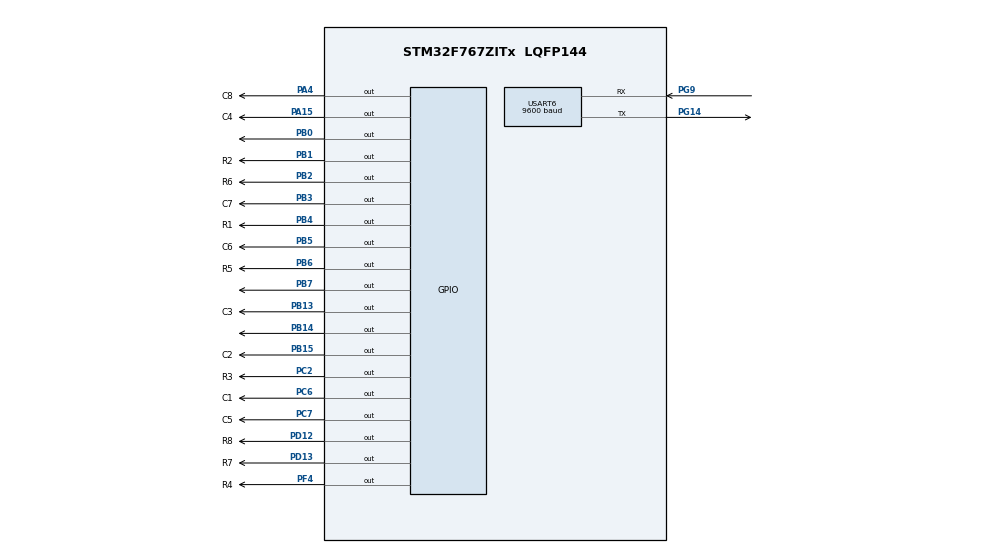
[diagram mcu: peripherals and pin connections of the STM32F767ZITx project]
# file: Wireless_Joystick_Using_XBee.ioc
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Mcu.Family=STM32F7
Mcu.Name=STM32F767ZITx
Mcu.Package=LQFP144
NVIC.PriorityGroup=NVIC_PRIORITYGROUP_4
NVIC.USART6_IRQn=true\:0\:0\:false\:false\:true\:true
PA15.GPIO_Label=C4
PA15.Signal=GPIO_Output
PA4.GPIO_Label=C8
PA4.Signal=GPIO_Output
PB0.Signal=GPIO_Output
PB1.GPIO_Label=R2
PB1.Signal=GPIO_Output
PB13.GPIO_Label=C3
PB13.Signal=GPIO_Output
PB14.Signal=GPIO_Output
PB15.GPIO_Label=C2
PB15.Signal=GPIO_Output
PB2.GPIO_Label=R6
PB2.Signal=GPIO_Output
PB3.GPIO_Label=C7
PB3.Signal=GPIO_Output
PB4.GPIO_Label=R1
PB4.Signal=GPIO_Output
PB5.GPIO_Label=C6
PB5.Signal=GPIO_Output
PB6.GPIO_Label=R5
PB6.Signal=GPIO_Output
PB7.Signal=GPIO_Output
PC2.GPIO_Label=R3
PC2.Signal=GPIO_Output
PC6.GPIO_Label=C1
PC6.Signal=GPIO_Output
PC7.GPIO_Label=C5
PC7.Signal=GPIO_Output
PD12.GPIO_Label=R8
PD12.Signal=GPIO_Output
PD13.GPIO_Label=R7
PD13.Signal=GPIO_Output
PF4.GPIO_Label=R4
PF4.Signal=GPIO_Output
PG14.Mode=Asynchronous
PG14.Signal=USART6_TX
PG9.Mode=Asynchronous
PG9.Signal=USART6_RX
ProjectManager.HeapSize=0x200
ProjectManager.StackSize=0x400
ProjectManager.TargetToolchain=MDK-ARM V5
RCC.HSE_VALUE=25000000
RCC.HSI_VALUE=16000000
RCC.LSE_VALUE=32768
RCC.USBFreq_Value=96000000
RCC.VCOOutputFreq_Value=192000000
USART6.BaudRate=9600
USART6.VirtualMode-Asynchronous=VM_ASYNC
board=custom

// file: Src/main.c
/* USER CODE BEGIN Header */
/**
  ******************************************************************************
  * @file           : main.c
  * @brief          : Main program body
  ******************************************************************************
  ** This notice applies to any and all portions of this file
  * that are not between comment pairs USER CODE BEGIN and
  * USER CODE END. Other portions of this file, whether
  * inserted by the user or by software development tools
  * are owned by their respective copyright owners.
  *
  * COPYRIGHT(c) 2019 STMicroelectronics
  *
  * Redistribution and use in source and binary forms, with or without modification,
  * are permitted provided that the following conditions are met:
  *   1. Redistributions of source code must retain the above copyright notice,
  *      this list of conditions and the following disclaimer.
  *   2. Redistributions in binary form must reproduce the above copyright notice,
  *      this list of conditions and the following disclaimer in the documentation
  *      and/or other materials provided with the distribution.
  *   3. Neither the name of STMicroelectronics nor the names of its contributors
  *      may be used to endorse or promote products derived from this software
  *      without specific prior written permission.
  *
  * THIS SOFTWARE IS PROVIDED BY THE COPYRIGHT HOLDERS AND CONTRIBUTORS "AS IS"
  * AND ANY EXPRESS OR IMPLIED WARRANTIES, INCLUDING, BUT NOT LIMITED TO, THE
  * IMPLIED WARRANTIES OF MERCHANTABILITY AND FITNESS FOR A PARTICULAR PURPOSE ARE
  * DISCLAIMED. IN NO EVENT SHALL THE COPYRIGHT HOLDER OR CONTRIBUTORS BE LIABLE
  * FOR ANY DIRECT, INDIRECT, INCIDENTAL, SPECIAL, EXEMPLARY, OR CONSEQUENTIAL
  * DAMAGES (INCLUDING, BUT NOT LIMITED TO, PROCUREMENT OF SUBSTITUTE GOODS OR
  * SERVICES; LOSS OF USE, DATA, OR PROFITS; OR BUSINESS INTERRUPTION) HOWEVER
  * CAUSED AND ON ANY THEORY OF LIABILITY, WHETHER IN CONTRACT, STRICT LIABILITY,
  * OR TORT (INCLUDING NEGLIGENCE OR OTHERWISE) ARISING IN ANY WAY OUT OF THE USE
  * OF THIS SOFTWARE, EVEN IF ADVISED OF THE POSSIBILITY OF SUCH DAMAGE.
  *
  ******************************************************************************
  */
/* USER CODE END Header */

#include "main.h"

UART_HandleTypeDef huart6;

/* USER CODE BEGIN PV */
uint8_t BuzzerON[20]= {0x7E,0x00,0x10,0x17,0x01,0x00,0x13,0xA2,0x00,0x41,0x67,0x21,0x67,0xFF,0xFE,0x02,0x44,0x34,0x05,0x86};
uint8_t BuzzerOFF[20]= {0x7E,0x00,0x10,0x17,0x01,0x00,0x13,0xA2,0x00,0x41,0x67,0x21,0x67,0xFF,0xFE,0x02,0x44,0x34,0x04,0x87};

uint8_t data_rx_mcu[26];        // Received Buffer Declaration
uint16_t ack_count=0;    	      // Acknowledge Declaration
uint8_t xdata_msb,xdata_lsb; 		// 2-byte Y-axis Value
uint8_t ydata_msb,ydata_lsb;  	// 2-byte Y-axis Value
uint8_t i=0,k=0,x_lvl=0,y_lvl=0;

float X_axis=500;
float Y_axis=500;
int temp;

uint32_t ref_pos=500;
uint8_t x_led;
uint8_t y_led;
uint8_t j=0;
uint8_t x_tmp=0,y_tmp=0;
/* USER CODE END PV */

void SystemClock_Config(void);
static void MX_GPIO_Init(void);
static void MX_USART6_UART_Init(void);
/* USER CODE BEGIN PFP */
double ceil(double);
void xbeeReceive(void);
void xbeeTransmit(void);
void xMovement(void);
void yMovement(void);
void Matrix_Init(void);
void Matrix_ON(void);
/* USER CODE END PFP */

void xbeeReceive()
{
	HAL_UART_Receive_IT(&huart6,data_rx_mcu,26);   	//Receiving packets continuously from End Point XBee (EP)
}
void xbeeTransmit()
{
	if(x_lvl>=8 || x_lvl ==0 || y_lvl==0 || y_lvl>=8)
	{
		if(HAL_UART_Transmit_IT(&huart6,BuzzerON,20) == HAL_OK)					//Sends back feedback frame to EP
		{
			x_led = 1;
			HAL_Delay(100);
			if(HAL_UART_Transmit_IT(&huart6,BuzzerOFF,20) == HAL_OK)
			{
				x_led = 0;
				HAL_Delay(100);
			}
		}
	}
}
void HAL_UART_RxCpltCallback(UART_HandleTypeDef *huart)
{
	for(j=0;j<26;j++)
		{
			if(data_rx_mcu[j]== 0x7E) 									//Recognises Zigbee Header and starts processing
			{
				if(data_rx_mcu[(j+3)%26]== 0x92)					//Recognises Data frame sent by EP
				{
					//Storing previous value of X and Y axis.
					x_tmp= X_axis;
					y_tmp = Y_axis;

					//Combining recieved 2 byte X tilt data
					xdata_msb = data_rx_mcu[(j+21)%26];
					xdata_lsb = data_rx_mcu[(j+22)%26];
					X_axis = xdata_lsb+(xdata_msb* 256);
					x_lvl = ceil(X_axis/128);
					y_lvl = ceil(Y_axis/128);
					//Combining recieved 2 byte Y tilt data
					ydata_msb = data_rx_mcu[(j+23)%26];
					ydata_lsb = data_rx_mcu[(j+24)%26];
					Y_axis = ydata_lsb+(ydata_msb* 256);

//					if(X_axis>1023)
//						X_axis=x_tmp;
//					if(Y_axis>1023)
//						Y_axis=y_tmp;
				}
				else if(data_rx_mcu[(j+3)%24]== 0x97)						//Recognises Acknowledgment sent by EP
				{
					ack_count = ack_count+1;      								//Counts Acknowledgements received from EP
					break;
				}
			}
		}
}
int main(void)
{

  /* MCU Configuration--------------------------------------------------------*/

  /* Reset of all peripherals, Initializes the Flash interface and the Systick. */
  HAL_Init();

  /* Configure the system clock */
  SystemClock_Config();

  /* Initialize all configured peripherals */
  MX_GPIO_Init();
  MX_USART6_UART_Init();

  /* Infinite loop */
  /* USER CODE BEGIN WHILE */
  while (1)
  {
	xbeeReceive();
//		//if(!(HAL_UART_GetState(&huart6) == HAL_UART_STATE_BUSY_TX))
//			HAL_UART_Receive_IT(&huart6,data_rx_mcu,26);   	//Receiving packets continuously from End Point XBee (EP)
//		if(x_lvl>=8)
//			HAL_UART_Transmit(&huart6,BuzzerON,20,100);
    /* USER CODE END WHILE */
  }
}

void SystemClock_Config(void)
{
  RCC_OscInitTypeDef RCC_OscInitStruct = {0};
  RCC_ClkInitTypeDef RCC_ClkInitStruct = {0};
  RCC_PeriphCLKInitTypeDef PeriphClkInitStruct = {0};

  /**Configure the main internal regulator output voltage
  */
  __HAL_RCC_PWR_CLK_ENABLE();
  __HAL_PWR_VOLTAGESCALING_CONFIG(PWR_REGULATOR_VOLTAGE_SCALE3);
  /**Initializes the CPU, AHB and APB busses clocks
  */
  RCC_OscInitStruct.OscillatorType = RCC_OSCILLATORTYPE_HSI;
  RCC_OscInitStruct.HSIState = RCC_HSI_ON;
  RCC_OscInitStruct.HSICalibrationValue = RCC_HSICALIBRATION_DEFAULT;
  RCC_OscInitStruct.PLL.PLLState = RCC_PLL_NONE;
  if (HAL_RCC_OscConfig(&RCC_OscInitStruct) != HAL_OK)
  {
    Error_Handler();
  }
  /**Initializes the CPU, AHB and APB busses clocks
  */
  RCC_ClkInitStruct.ClockType = RCC_CLOCKTYPE_HCLK|RCC_CLOCKTYPE_SYSCLK
                              |RCC_CLOCKTYPE_PCLK1|RCC_CLOCKTYPE_PCLK2;
  RCC_ClkInitStruct.SYSCLKSource = RCC_SYSCLKSOURCE_HSI;
  RCC_ClkInitStruct.AHBCLKDivider = RCC_SYSCLK_DIV1;
  RCC_ClkInitStruct.APB1CLKDivider = RCC_HCLK_DIV1;
  RCC_ClkInitStruct.APB2CLKDivider = RCC_HCLK_DIV1;

  if (HAL_RCC_ClockConfig(&RCC_ClkInitStruct, FLASH_LATENCY_0) != HAL_OK)
  {
    Error_Handler();
  }
  PeriphClkInitStruct.PeriphClockSelection = RCC_PERIPHCLK_USART6;
  PeriphClkInitStruct.Usart6ClockSelection = RCC_USART6CLKSOURCE_PCLK2;
  if (HAL_RCCEx_PeriphCLKConfig(&PeriphClkInitStruct) != HAL_OK)
  {
    Error_Handler();
  }
}

static void MX_USART6_UART_Init(void)
{

  huart6.Instance = USART6;
  huart6.Init.BaudRate = 9600;
  huart6.Init.WordLength = UART_WORDLENGTH_8B;
  huart6.Init.StopBits = UART_STOPBITS_1;
  huart6.Init.Parity = UART_PARITY_NONE;
  huart6.Init.Mode = UART_MODE_TX_RX;
  huart6.Init.HwFlowCtl = UART_HWCONTROL_NONE;
  huart6.Init.OverSampling = UART_OVERSAMPLING_16;
  huart6.Init.OneBitSampling = UART_ONE_BIT_SAMPLE_DISABLE;
  huart6.AdvancedInit.AdvFeatureInit = UART_ADVFEATURE_NO_INIT;
  if (HAL_UART_Init(&huart6) != HAL_OK)
  {
    Error_Handler();
  }

}

static void MX_GPIO_Init(void)
{

  /* GPIO Ports Clock Enable */
  __HAL_RCC_GPIOG_CLK_ENABLE();

}

void Error_Handler(void)
{
}

/************************ (C) COPYRIGHT STMicroelectronics *****END OF FILE****/
